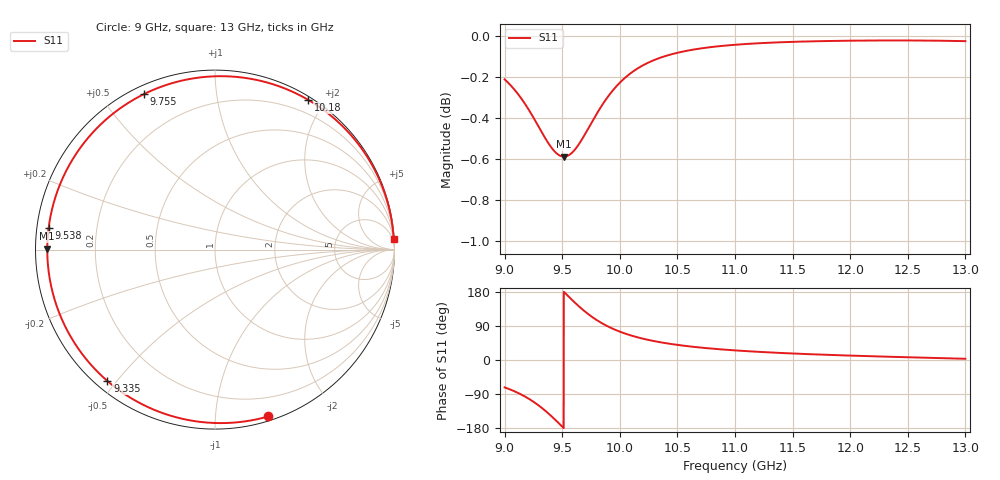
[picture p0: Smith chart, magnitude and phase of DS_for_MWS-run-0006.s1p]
! TOUCHSTONE file generated by CST DESIGN STUDIO
! Date and time: Tue Feb  4 15:49:52 2025
! Project name: C:\Work\MatlabApps\UnitCellOptimizationMatlab\CST\unitcell.cst
! Tree item: Tasks\Sweep1\SPara1\S-Parameters
! Header version: 2024
! Port assignment regex: !\s*Touchstone port\s*([0-9]+)\s*=\s*(CST MWS port|CST DES external port|CST DES block port)\s*(.+)\s* \(\"(.*)\"\)(\s*mode\s*([0-9]+))?.*
! Touchstone port assignment:
! Touchstone port 1 = CST DES external port 1 ("")
# GHz S MA R 50
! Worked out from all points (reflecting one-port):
!   4001 points, 9 GHz to 13 GHz, reference 50 ohm
!   lowest |S11| = -0.6 dB at 9.515 GHz (marker M1), VSWR 29.55, Z = 1.69 + j0.159 ohm
!   phase of S11 starts at -72 deg and turns -284 deg over the sweep
!   S11 on the Smith chart (normalised r, x): 9 GHz: 0.04, -1.37; 9.335 GHz: 0.03, -0.47; 9.538 GHz: 0.03, +0.06; 9.755 GHz: 0.03, +0.64; 10.18 GHz: 0.04, +1.80; 13 GHz: 2, +35
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9  0.9759 -72.3
9.091  0.9698 -83.3
9.195  0.9608 -99.6
9.268  0.9533 -113.8
9.335  0.9461 -129.3
9.38  0.9416 -141.0
9.426  0.9378 -153.8
9.464  0.9356 -165.0
9.5  0.9346 -175.8
9.515  0.9345 179.6
9.538  0.9348 172.7
9.592  0.937 156.6
9.652  0.9417 139.7
9.703  0.9469 126.6
9.755  0.9525 114.6
9.805  0.9578 104.4
9.861  0.9633 94.3
10  0.974 74.8
10.084  0.9787 66.0
10.175  0.9826 58.2
10.323  0.9871 48.4
10.5  0.9905 39.9
10.721  0.993 32.2
11  0.9949 25.3
11.5  0.9965 17.2
12  0.9972 11.6
12.5  0.9973 7.2
13  0.9969 3.2
